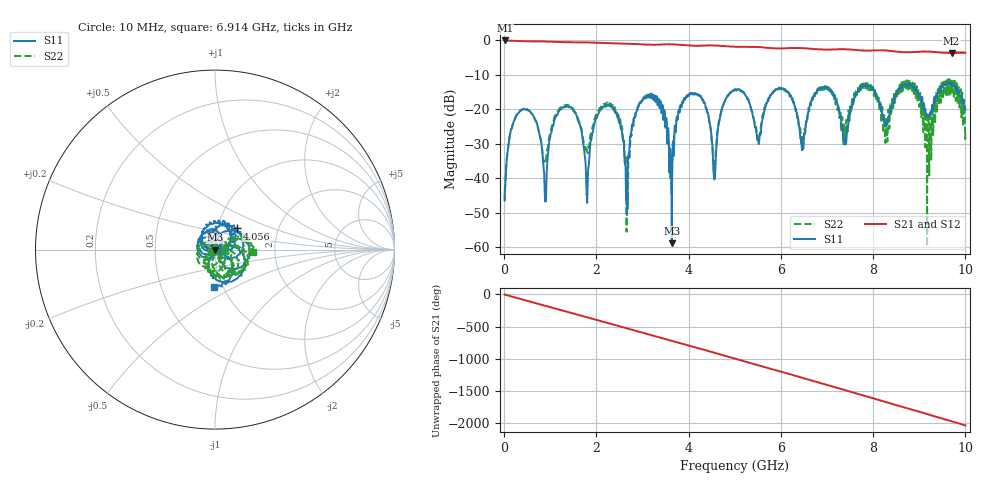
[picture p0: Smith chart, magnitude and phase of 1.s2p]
!Keysight Technologies,E5080B,MY59205177,A.15.75.32
!Date: Friday, February 23, 2024 03:25:20
!Correction: S11(Cdelta 2-Port  )
!S21(Cdelta 2-Port  )
!S12(Cdelta 2-Port  )
!S22(Cdelta 2-Port  )
!S2P File: Measurements: S11, S21, S12, S22:
# Hz S  dB  R 50
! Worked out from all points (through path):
!   10001 points, 10 MHz to 10 GHz, reference 50 ohm
!   highest |S21| = -0.02 dB at 14 MHz (marker M1); lowest = -3.7 dB at 9.701 GHz (marker M2)
!   group delay of S21, straight-line fit = 565 ps
!   lowest |S11| = -58.9 dB at 3.634 GHz (marker M3), VSWR 1.00, Z = 50.1 - j0.101 ohm
!   |S11| at or under -10 dB: start of sweep to end of sweep
!   |S22| runs from -59.7 to -11.2 dB; largest |S21 - S12| = 0.0015
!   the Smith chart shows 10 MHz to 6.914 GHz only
!   S11 on the Smith chart (normalised r, x): 10 MHz: 1.01, -0.00; 4.056 GHz: 1.24, +0.30; 6.914 GHz: 0.91, -0.39
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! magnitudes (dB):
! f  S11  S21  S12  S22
! 10 MHz  -45.9  0.0  0.0  -46.3
! 14 MHz  -43.2  0.0  0.0  -46.0
! 362.6 MHz  -20.3  -0.2  -0.2  -20.3
! 889.1 MHz  -46.2  -0.3  -0.3  -35.3
! 1.214 GHz  -20.1  -0.5  -0.5  -19.6
! 1.675 GHz  -26.2  -0.6  -0.6  -25.5
! 1.802 GHz  -46.7  -0.6  -0.6  -32.0
! 2.35 GHz  -19.3  -0.9  -0.9  -18.8
! 2.663 GHz  -50.7  -0.9  -0.9  -42.2
! 2.89 GHz  -19.4  -1.1  -1.1  -20.3
! 3.341 GHz  -17.5  -1.2  -1.2  -17.8
! 3.634 GHz  -58.9  -1.1  -1.1  -42.2
! 4.056 GHz  -15.4  -1.5  -1.5  -15.5
! 4.56 GHz  -40.2  -1.5  -1.5  -39.3
! 5.005 GHz  -14.2  -1.8  -1.8  -14.5
! 5.515 GHz  -29.7  -1.9  -1.9  -28.8
! 6.67 GHz  -17.3  -2.4  -2.4  -16.9
! 6.914 GHz  -13.7  -2.6  -2.6  -13.3
! 7.382 GHz  -30.0  -2.6  -2.6  -25.1
! 8.336 GHz  -22.5  -3.0  -3.0  -20.5
! 9.701 GHz  -12.3  -3.7  -3.7  -13.9
! 10 GHz  -20.2  -3.6  -3.6  -26.3
